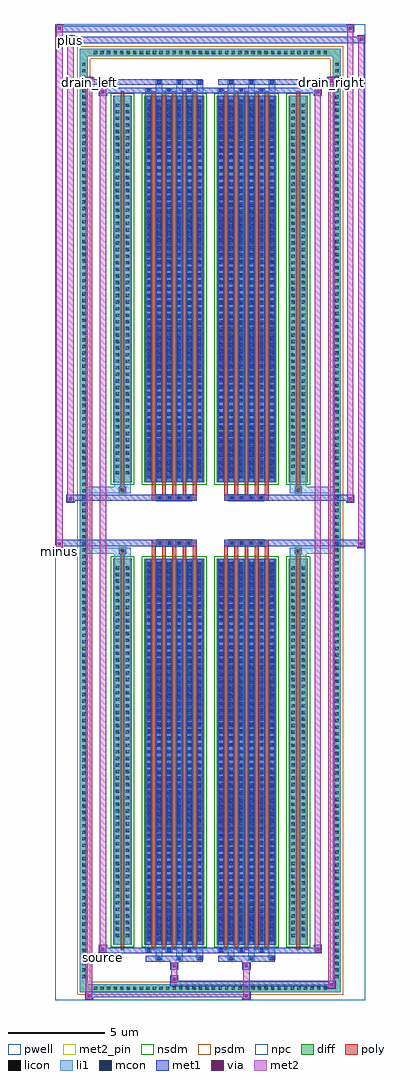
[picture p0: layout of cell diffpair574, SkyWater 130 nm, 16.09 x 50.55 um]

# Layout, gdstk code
import gdstk
lib = gdstk.Library(unit=1e-6, precision=5e-09)
def R(c, l, rs):  # rectangles x0, y0, x1, y1
    for r in rs: c.add(gdstk.rectangle(r[:2], r[2:], *l))
def A(c, l, x, y, w, h, nx, ny, dx, dy):  # array of equal rectangles
    R(c, l, [(x+i*dx, y+j*dy, x+i*dx+w, y+j*dy+h) for i in range(nx) for j in range(ny)])
def P(c, l, *ps):  # polygons
    for p in ps: c.add(gdstk.Polygon(p, *l))
pwell = (64, 44)
diff = (65, 20)
poly = (66, 20)
licon = (66, 44)
li1 = (67, 20)
mcon = (67, 44)
met1 = (68, 20)
via = (68, 44)
met2_pin = (69, 16)
met2 = (69, 20)
nsdm = (93, 44)
psdm = (94, 20)
npc = (95, 20)

diffpair574 = lib.new_cell('diffpair574')
R(diffpair574, pwell, [(-8.03,-24.84,8.03,25.71), (-5.35,-23.03,-0.01,-0.805), (0.01,-23.03,5.35,-0.805), (-5.35,0.805,-0.01,23.03), (0.01,0.805,5.35,23.03)])
A(diffpair574, diff, -6.155, -24.44, 0.41, 0.41, 36, 2, 0.34, 48.47)
A(diffpair574, diff, -6.76, -23.835, 0.41, 0.41, 1, 140, 0, 0.34)
A(diffpair574, diff, 6.35, -23.835, 0.41, 0.41, 1, 140, 0, 0.34)
R(diffpair574, diff, [(-6.155,-24.44,6.155,-24.03), (-6.76,-23.835,-6.35,23.835), (6.35,-23.835,6.76,23.835), (-5.04,-21.985,-4.06,-1.985), (-3.42,-21.985,-0.32,-1.985), (0.32,-21.985,3.42,-1.985), (4.06,-21.985,5.04,-1.985), (-5.04,1.985,-4.06,21.985), (-3.42,1.985,-0.32,21.985), (0.32,1.985,3.42,21.985), (4.06,1.985,5.04,21.985), (-6.155,24.03,6.155,24.44)])
P(diffpair574, diff, [(6.76,24.44),(-6.76,24.44),(-6.76,-24.03),(-6.35,-24.03),(-6.35,24.03),(6.35,24.03),(6.35,-24.03),(-6.35,-24.03),(-6.76,-24.03),(-6.76,-24.44),(6.76,-24.44)])
A(diffpair574, poly, -3.03, -22.235, 0.2, 20.5, 5, 2, 0.53, 23.97)
A(diffpair574, poly, 0.71, -22.235, 0.2, 20.5, 5, 2, 0.53, 23.97)
A(diffpair574, poly, -3.03, -1.735, 0.2, 0.4, 5, 2, 0.53, 3.07)
A(diffpair574, poly, 0.71, -1.735, 0.2, 0.4, 5, 2, 0.53, 3.07)
A(diffpair574, poly, -2.785, -1.335, 0.33, 0.33, 4, 2, 0.5, 2.34)
A(diffpair574, poly, 0.955, -1.335, 0.33, 0.33, 4, 2, 0.5, 2.34)
R(diffpair574, poly, [(-4.65,-22.235,-4.45,-1.735), (4.45,-22.235,4.65,-1.735), (-4.715,-1.735,-4.385,-1.405), (-4.715,-1.735,-4.385,-1.405), (4.385,-1.735,4.715,-1.405), (4.385,-1.735,4.715,-1.405), (-3.03,-1.335,-0.71,-1.005), (0.71,-1.335,3.03,-1.005), (-3.03,1.005,-0.71,1.335), (0.71,1.005,3.03,1.335), (-4.715,1.405,-4.385,1.735), (-4.715,1.405,-4.385,1.735), (4.385,1.405,4.715,1.735), (4.385,1.405,4.715,1.735), (-4.65,1.735,-4.45,22.235), (4.45,1.735,4.65,22.235)])
A(diffpair574, licon, -6.035, -24.32, 0.17, 0.17, 36, 2, 0.34, 48.47)
A(diffpair574, licon, -6.64, -23.715, 0.17, 0.17, 1, 140, 0, 0.34)
A(diffpair574, licon, 6.47, -23.715, 0.17, 0.17, 1, 140, 0, 0.34)
A(diffpair574, licon, -4.9, -21.59, 0.17, 0.17, 1, 57, 0, 0.34)
A(diffpair574, licon, -4.37, -21.59, 0.17, 0.17, 1, 57, 0, 0.34)
A(diffpair574, licon, -3.28, -21.59, 0.17, 0.17, 6, 57, 0.53, 0.34)
A(diffpair574, licon, 0.46, -21.59, 0.17, 0.17, 6, 57, 0.53, 0.34)
A(diffpair574, licon, 4.2, -21.59, 0.17, 0.17, 1, 57, 0, 0.34)
A(diffpair574, licon, 4.73, -21.59, 0.17, 0.17, 1, 57, 0, 0.34)
A(diffpair574, licon, -2.705, -1.255, 0.17, 0.17, 4, 2, 0.5, 2.34)
A(diffpair574, licon, 1.035, -1.255, 0.17, 0.17, 4, 2, 0.5, 2.34)
A(diffpair574, licon, -4.9, 2.38, 0.17, 0.17, 1, 57, 0, 0.34)
A(diffpair574, licon, -4.37, 2.38, 0.17, 0.17, 1, 57, 0, 0.34)
A(diffpair574, licon, -3.28, 2.38, 0.17, 0.17, 6, 57, 0.53, 0.34)
A(diffpair574, licon, 0.46, 2.38, 0.17, 0.17, 6, 57, 0.53, 0.34)
A(diffpair574, licon, 4.2, 2.38, 0.17, 0.17, 1, 57, 0, 0.34)
A(diffpair574, licon, 4.73, 2.38, 0.17, 0.17, 1, 57, 0, 0.34)
R(diffpair574, licon, [(-4.635,-1.655,-4.465,-1.485), (4.465,-1.655,4.635,-1.485), (-4.635,1.485,-4.465,1.655), (4.465,1.485,4.635,1.655)])
A(diffpair574, li1, -6.115, -24.4, 0.33, 0.33, 36, 2, 0.34, 48.47)
A(diffpair574, li1, -6.72, -23.795, 0.33, 0.33, 1, 140, 0, 0.34)
A(diffpair574, li1, 6.39, -23.795, 0.33, 0.33, 1, 140, 0, 0.34)
A(diffpair574, li1, -2.83, -22.79, 0.33, 0.805, 3, 2, 1.06, 44.775)
A(diffpair574, li1, -2.75, -22.79, 0.17, 0.17, 3, 2, 1.06, 45.41)
A(diffpair574, li1, 0.91, -22.79, 0.33, 0.805, 3, 2, 1.06, 44.775)
A(diffpair574, li1, 0.99, -22.79, 0.17, 0.17, 3, 2, 1.06, 45.41)
A(diffpair574, li1, -3.36, -22.36, 0.33, 0.375, 3, 2, 1.06, 44.345)
A(diffpair574, li1, -3.28, -22.36, 0.17, 0.17, 3, 2, 1.06, 44.55)
A(diffpair574, li1, 0.38, -22.36, 0.33, 0.375, 3, 2, 1.06, 44.345)
A(diffpair574, li1, 0.46, -22.36, 0.17, 0.17, 3, 2, 1.06, 44.55)
A(diffpair574, li1, -3.36, -21.985, 0.33, 20, 6, 2, 0.53, 23.97)
A(diffpair574, li1, 0.38, -21.985, 0.33, 20, 6, 2, 0.53, 23.97)
A(diffpair574, li1, -3.28, -21.79, 0.17, 0.17, 6, 55, 0.53, 0.36)
A(diffpair574, li1, -3.28, -21.79, 0.17, 19.61, 6, 2, 0.53, 23.97)
A(diffpair574, li1, 0.46, -21.79, 0.17, 0.17, 6, 55, 0.53, 0.36)
A(diffpair574, li1, 0.46, -21.79, 0.17, 19.61, 6, 2, 0.53, 23.97)
A(diffpair574, li1, -4.98, -21.67, 0.33, 0.33, 1, 57, 0, 0.34)
A(diffpair574, li1, -4.45, -21.67, 0.33, 0.33, 1, 57, 0, 0.34)
A(diffpair574, li1, -3.36, -21.67, 0.33, 0.33, 6, 57, 0.53, 0.34)
A(diffpair574, li1, 0.38, -21.67, 0.33, 0.33, 6, 57, 0.53, 0.34)
A(diffpair574, li1, 4.12, -21.67, 0.33, 0.33, 1, 57, 0, 0.34)
A(diffpair574, li1, 4.65, -21.67, 0.33, 0.33, 1, 57, 0, 0.34)
A(diffpair574, li1, -2.785, -1.335, 0.33, 0.33, 4, 2, 0.5, 2.34)
A(diffpair574, li1, 0.955, -1.335, 0.33, 0.33, 4, 2, 0.5, 2.34)
A(diffpair574, li1, -3.28, 2.18, 0.17, 0.17, 6, 55, 0.53, 0.36)
A(diffpair574, li1, 0.46, 2.18, 0.17, 0.17, 6, 55, 0.53, 0.36)
A(diffpair574, li1, -4.98, 2.3, 0.33, 0.33, 1, 57, 0, 0.34)
A(diffpair574, li1, -4.45, 2.3, 0.33, 0.33, 1, 57, 0, 0.34)
A(diffpair574, li1, -3.36, 2.3, 0.33, 0.33, 6, 57, 0.53, 0.34)
A(diffpair574, li1, 0.38, 2.3, 0.33, 0.33, 6, 57, 0.53, 0.34)
A(diffpair574, li1, 4.12, 2.3, 0.33, 0.33, 1, 57, 0, 0.34)
A(diffpair574, li1, 4.65, 2.3, 0.33, 0.33, 1, 57, 0, 0.34)
R(diffpair574, li1, [(-6.76,-24.44,-6.35,-24.03), (-6.76,-24.44,-6.35,-24.03), (-6.35,-24.44,6.35,-24.03), (6.35,-24.44,6.76,-24.03), (6.35,-24.44,6.76,-24.03), (-6.76,-24.03,-6.35,24.03), (6.35,-24.03,6.76,24.03), (-4.98,-21.985,-4.65,-1.985), (-4.45,-21.985,-4.12,-1.985), (4.12,-21.985,4.45,-1.985), (4.65,-21.985,4.98,-1.985), (-4.98,-1.985,-4.65,-1.405), (-4.45,-1.985,-4.12,-1.405), (4.12,-1.985,4.45,-1.405), (4.65,-1.985,4.98,-1.405), (-6.76,-1.735,-4.715,-1.405), (-4.98,-1.735,-4.715,-1.405), (-4.715,-1.735,-4.385,-1.405), (-4.385,-1.735,-4.12,-1.405), (4.12,-1.735,4.385,-1.405), (4.385,-1.735,4.715,-1.405), (4.385,-1.735,6.76,-1.405), (4.715,-1.735,4.98,-1.405), (-6.76,1.405,-4.715,1.735), (-4.98,1.405,-4.715,1.735), (-4.98,1.405,-4.65,1.985), (-4.715,1.405,-4.385,1.735), (-4.45,1.405,-4.12,1.985), (-4.385,1.405,-4.12,1.735), (4.12,1.405,4.385,1.735), (4.12,1.405,4.45,1.985), (4.385,1.405,4.715,1.735), (4.385,1.405,6.76,1.735), (4.65,1.405,4.98,1.985), (4.715,1.405,4.98,1.735), (-4.98,1.985,-4.65,21.985), (-4.45,1.985,-4.12,21.985), (4.12,1.985,4.45,21.985), (4.65,1.985,4.98,21.985), (-6.76,24.03,-6.35,24.44), (-6.76,24.03,-6.35,24.44), (-6.35,24.03,6.35,24.44), (6.35,24.03,6.76,24.44), (6.35,24.03,6.76,24.44)])
A(diffpair574, mcon, -2.75, -22.79, 0.17, 0.17, 3, 2, 1.06, 45.41)
A(diffpair574, mcon, 0.99, -22.79, 0.17, 0.17, 3, 2, 1.06, 45.41)
A(diffpair574, mcon, -3.28, -22.36, 0.17, 0.17, 3, 2, 1.06, 44.55)
A(diffpair574, mcon, 0.46, -22.36, 0.17, 0.17, 3, 2, 1.06, 44.55)
A(diffpair574, mcon, -3.28, -21.79, 0.17, 0.17, 6, 55, 0.53, 0.36)
A(diffpair574, mcon, 0.46, -21.79, 0.17, 0.17, 6, 55, 0.53, 0.36)
A(diffpair574, mcon, -2.705, -1.255, 0.17, 0.17, 4, 2, 0.5, 2.34)
A(diffpair574, mcon, 1.035, -1.255, 0.17, 0.17, 4, 2, 0.5, 2.34)
A(diffpair574, mcon, -3.28, 2.18, 0.17, 0.17, 6, 55, 0.53, 0.36)
A(diffpair574, mcon, 0.46, 2.18, 0.17, 0.17, 6, 55, 0.53, 0.36)
A(diffpair574, met1, -2.81, -22.85, 0.29, 0.29, 3, 2, 1.06, 45.41)
A(diffpair574, met1, 0.93, -22.85, 0.29, 0.29, 3, 2, 1.06, 45.41)
A(diffpair574, met1, -3.34, -22.42, 0.29, 0.29, 3, 2, 1.06, 44.55)
A(diffpair574, met1, 0.4, -22.42, 0.29, 0.29, 3, 2, 1.06, 44.55)
A(diffpair574, met1, -3.34, -21.985, 0.29, 20, 6, 2, 0.53, 23.97)
A(diffpair574, met1, 0.4, -21.985, 0.29, 20, 6, 2, 0.53, 23.97)
A(diffpair574, met1, -3.34, -21.85, 0.29, 0.29, 6, 55, 0.53, 0.36)
A(diffpair574, met1, 0.4, -21.85, 0.29, 0.29, 6, 55, 0.53, 0.36)
A(diffpair574, met1, -2.765, -1.315, 0.29, 0.29, 4, 2, 0.5, 2.34)
A(diffpair574, met1, 0.975, -1.315, 0.29, 0.29, 4, 2, 0.5, 2.34)
A(diffpair574, met1, -3.34, 2.12, 0.29, 0.29, 6, 55, 0.53, 0.36)
A(diffpair574, met1, 0.4, 2.12, 0.29, 0.29, 6, 55, 0.53, 0.36)
R(diffpair574, met1, [(-6.49,-24.84,-6.06,-24.41), (1.655,-24.84,2.085,-24.41), (-6.49,-24.7,2.085,-24.41), (6.06,-24.27,6.49,-23.84), (-2.085,-24.13,6.49,-23.84), (-2.085,-23.99,-1.655,-23.56), (-2.085,-23.28,-1.655,-22.85), (1.655,-23.28,2.085,-22.85), (-3.34,-22.85,-0.4,-22.56), (0.4,-22.85,3.34,-22.56), (-5.78,-22.42,-5.35,-21.99), (-5.78,-22.42,-3.34,-22.13), (-3.34,-22.42,-0.4,-22.13), (-0.4,-22.42,0.4,-22.13), (0.4,-22.42,3.34,-22.13), (3.34,-22.42,5.78,-22.13), (5.35,-22.42,5.78,-21.99), (-8.03,-1.435,-7.6,-1.005), (7.6,-1.435,8.03,-1.005), (-8.03,-1.335,-0.71,-1.005), (-3.03,-1.335,-0.71,-1.005), (0.71,-1.335,3.03,-1.005), (0.71,-1.335,8.03,-1.005), (-7.46,0.905,-7.03,1.335), (7.03,0.905,7.46,1.335), (-7.46,1.005,-3.03,1.335), (-3.03,1.005,-0.71,1.335), (0.71,1.005,3.03,1.335), (3.03,1.005,7.46,1.335), (-5.78,21.99,-5.35,22.42), (5.35,21.99,5.78,22.42), (-5.78,22.13,-3.34,22.42), (-3.34,22.13,-0.4,22.42), (-0.4,22.13,0.4,22.42), (0.4,22.13,3.34,22.42), (3.34,22.13,5.78,22.42), (-6.49,22.56,-6.06,22.99), (-6.49,22.56,-3.34,22.85), (-3.34,22.56,-0.4,22.85), (0.4,22.56,3.34,22.85), (3.34,22.56,6.49,22.85), (6.06,22.56,6.49,22.99), (-7.46,24.71,-7.03,25.14), (-7.46,24.71,-5.35,25.04), (-5.35,24.71,5.35,25.04), (5.35,24.71,8.03,25.04), (7.6,24.71,8.03,25.14), (-8.03,25.28,-7.6,25.71), (-8.03,25.28,-5.35,25.61), (-5.35,25.28,5.35,25.61), (5.35,25.28,7.46,25.61), (7.03,25.28,7.46,25.71)])
R(diffpair574, via, [(-6.35,-24.7,-6.2,-24.55), (1.795,-24.7,1.945,-24.55), (6.2,-24.13,6.35,-23.98), (-1.945,-23.85,-1.795,-23.7), (-1.945,-23.14,-1.795,-22.99), (1.795,-23.14,1.945,-22.99), (-5.64,-22.28,-5.49,-22.13), (5.49,-22.28,5.64,-22.13), (-7.89,-1.295,-7.74,-1.145), (7.74,-1.295,7.89,-1.145), (-7.32,1.045,-7.17,1.195), (7.17,1.045,7.32,1.195), (-5.64,22.13,-5.49,22.28), (5.49,22.13,5.64,22.28), (-6.35,22.7,-6.2,22.85), (6.2,22.7,6.35,22.85), (-7.32,24.85,-7.17,25), (7.74,24.85,7.89,25), (-7.89,25.42,-7.74,25.57), (7.17,25.42,7.32,25.57)])
R(diffpair574, met2_pin, [(-5.815,-22.87,-5.315,-22.37), (-8.065,-1.885,-7.565,-1.385), (-6.525,22.44,-6.025,22.94), (6.025,22.44,6.525,22.94), (-7.495,24.59,-6.995,25.09)])
R(diffpair574, met2, [(-6.44,-24.79,-6.11,-24.46), (-6.44,-24.79,-6.11,22.94), (1.705,-24.79,2.035,-24.46), (1.705,-24.46,2.035,-23.23), (6.11,-24.22,6.44,-23.89), (6.11,-24.22,6.44,22.94), (-2.035,-23.94,-1.705,-23.61), (-2.035,-23.61,-1.705,-23.23), (-2.035,-23.23,-1.705,-22.9), (1.705,-23.23,2.035,-22.9), (-5.73,-22.37,-5.4,-22.04), (-5.73,-22.37,-5.4,22.37), (5.4,-22.37,5.73,-22.04), (5.4,-22.37,5.73,22.37), (-7.98,-1.385,-7.65,-1.055), (-7.98,-1.385,-7.65,25.66), (7.65,-1.385,7.98,-1.055), (7.65,-1.385,7.98,25.09), (-7.41,0.955,-7.08,1.285), (-7.41,0.955,-7.08,25.09), (7.08,0.955,7.41,1.285), (7.08,0.955,7.41,25.66), (-5.73,22.04,-5.4,22.37), (5.4,22.04,5.73,22.37), (-6.44,22.61,-6.11,22.94), (6.11,22.61,6.44,22.94), (-7.41,24.76,-7.08,25.09), (7.65,24.76,7.98,25.09), (-7.98,25.33,-7.65,25.66), (7.08,25.33,7.41,25.66)])
P(diffpair574, met2, [(7.98,-1.385),(7.98,-1.385),(7.98,-1.055),(7.98,-1.055)],
  [(7.98,24.76),(7.98,24.76),(7.98,25.09),(7.98,25.09)],
  [(-7.65,-1.385),(-7.65,-1.385),(-7.65,-1.055),(-7.65,-1.055)],
  [(-7.65,25.33),(-7.65,25.33),(-7.65,25.66),(-7.65,25.66)],
  [(7.41,0.955),(7.41,0.955),(7.41,1.285),(7.41,1.285)],
  [(7.41,25.33),(7.41,25.33),(7.41,25.66),(7.41,25.66)],
  [(-7.08,0.955),(-7.08,0.955),(-7.08,1.285),(-7.08,1.285)],
  [(-7.08,24.76),(-7.08,24.76),(-7.08,25.09),(-7.08,25.09)],
  [(-6.11,-24.79),(-6.11,-24.79),(-6.11,-24.46),(-6.11,-24.46)],
  [(-6.11,22.61),(-6.11,22.61),(-6.11,22.94),(-6.11,22.94)],
  [(6.44,-24.22),(6.44,-24.22),(6.44,-23.89),(6.44,-23.89)],
  [(6.44,22.61),(6.44,22.61),(6.44,22.94),(6.44,22.94)],
  [(-5.4,-22.37),(-5.4,-22.37),(-5.4,-22.04),(-5.4,-22.04)],
  [(-5.4,22.04),(-5.4,22.04),(-5.4,22.37),(-5.4,22.37)],
  [(5.73,-22.37),(5.73,-22.37),(5.73,-22.04),(5.73,-22.04)],
  [(5.73,22.04),(5.73,22.04),(5.73,22.37),(5.73,22.37)])
R(diffpair574, nsdm, [(-5.17,-22.115,-3.93,-1.855), (-3.55,-22.115,-0.19,-1.855), (0.19,-22.115,3.55,-1.855), (3.93,-22.115,5.17,-1.855), (-5.17,1.855,-3.93,22.115), (-3.55,1.855,-0.19,22.115), (0.19,1.855,3.55,22.115), (3.93,1.855,5.17,22.115)])
P(diffpair574, psdm, [(6.89,24.57),(-6.89,24.57),(-6.89,-23.9),(-6.22,-23.9),(-6.22,23.9),(6.22,23.9),(6.22,-23.9),(-6.22,-23.9),(-6.89,-23.9),(-6.89,-24.57),(6.89,-24.57)])
A(diffpair574, npc, -2.805, -1.355, 0.37, 0.37, 4, 2, 0.5, 2.34)
A(diffpair574, npc, 0.935, -1.355, 0.37, 0.37, 4, 2, 0.5, 2.34)
R(diffpair574, npc, [(-4.735,-1.755,-4.365,-1.385), (4.365,-1.755,4.735,-1.385), (-2.805,-1.355,-1.935,-0.985), (-2.805,-1.355,-1.935,-0.985), (-2.305,-1.355,-1.435,-0.985), (-2.305,-1.355,-1.435,-0.985), (-1.805,-1.355,-0.935,-0.985), (-1.805,-1.355,-0.935,-0.985), (0.935,-1.355,1.805,-0.985), (0.935,-1.355,1.805,-0.985), (1.435,-1.355,2.305,-0.985), (1.435,-1.355,2.305,-0.985), (1.935,-1.355,2.805,-0.985), (1.935,-1.355,2.805,-0.985), (-2.805,0.985,-1.935,1.355), (-2.805,0.985,-1.935,1.355), (-2.305,0.985,-1.435,1.355), (-2.305,0.985,-1.435,1.355), (-1.805,0.985,-0.935,1.355), (-1.805,0.985,-0.935,1.355), (0.935,0.985,1.805,1.355), (0.935,0.985,1.805,1.355), (1.435,0.985,2.305,1.355), (1.435,0.985,2.305,1.355), (1.935,0.985,2.805,1.355), (1.935,0.985,2.805,1.355), (-4.735,1.385,-4.365,1.755), (4.365,1.385,4.735,1.755)])
diffpair574.add(gdstk.Label('minus', (-7.815,-1.635), layer=69, texttype=5))
diffpair574.add(gdstk.Label('drain_right', (6.275,22.69), layer=69, texttype=5))
diffpair574.add(gdstk.Label('drain_left', (-6.275,22.69), layer=69, texttype=5))
diffpair574.add(gdstk.Label('source', (-5.565,-22.62), layer=69, texttype=5))
diffpair574.add(gdstk.Label('plus', (-7.245,24.84), layer=69, texttype=5))

lib.write_gds('diffpair574.gds')
